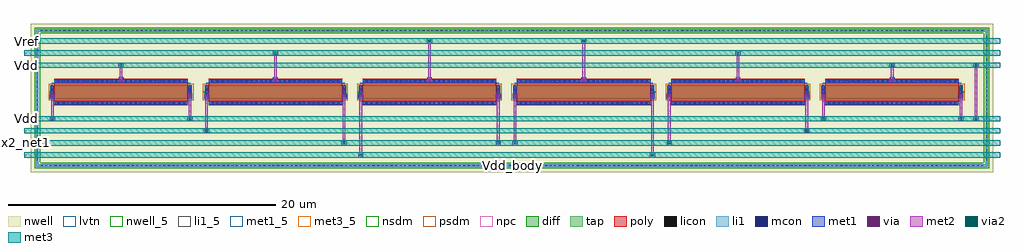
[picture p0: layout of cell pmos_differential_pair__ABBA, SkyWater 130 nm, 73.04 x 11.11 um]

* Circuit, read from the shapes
.subckt pmos_differential_pair__ABBA Vdd Vdd_body Vref x2_Vcm x2_Vout x2_Vtest x2_net1
XM1 Vdd Vdd Vdd Vdd_body sky130_fd_pr__pfet_01v8_lvt w=1 l=10 m=2
XM2 x2_net1 x2_Vcm x2_Vtest Vdd_body sky130_fd_pr__pfet_01v8_lvt w=1 l=10 m=2
XM3 x2_net1 Vref x2_Vout Vdd_body sky130_fd_pr__pfet_01v8_lvt w=1 l=10 m=2
.ends

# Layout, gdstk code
from math import pi, radians
import gdstk
lib = gdstk.Library(unit=1e-6, precision=1e-09)
def R(c, l, rs):  # rectangles x0, y0, x1, y1
    for r in rs: c.add(gdstk.rectangle(r[:2], r[2:], *l))
def A(c, l, x, y, w, h, nx, ny, dx, dy):  # array of equal rectangles
    R(c, l, [(x+i*dx, y+j*dy, x+i*dx+w, y+j*dy+h) for i in range(nx) for j in range(ny)])
nwell_5 = (64, 5)
nwell = (64, 20)
diff = (65, 20)
tap = (65, 44)
poly = (66, 20)
licon = (66, 44)
li1_5 = (67, 5)
li1 = (67, 20)
mcon = (67, 44)
met1_5 = (68, 5)
met1 = (68, 20)
via = (68, 44)
met2 = (69, 20)
via2 = (69, 44)
met3_5 = (70, 5)
met3 = (70, 20)
nsdm = (93, 44)
psdm = (94, 20)
npc = (95, 20)
lvtn = (125, 44)

sky130_fd_pr__pfet_01v8_ = lib.new_cell('sky130_fd_pr__pfet_01v8_lvt_5FXXCR')
R(sky130_fd_pr__pfet_01v8_, nwell, [(-5.47,-1,5.47,1)])
R(sky130_fd_pr__pfet_01v8_, diff, [(-5.29,-0.5,5.29,0.5)])
R(sky130_fd_pr__pfet_01v8_, poly, [(-5,-0.985,5,0.985)])
A(sky130_fd_pr__pfet_01v8_, licon, -4.845, -0.905, 0.17, 0.17, 29, 2, 0.34, 1.64)
A(sky130_fd_pr__pfet_01v8_, licon, -5.23, -0.425, 0.17, 0.17, 1, 3, 0, 0.34)
A(sky130_fd_pr__pfet_01v8_, licon, 5.06, -0.425, 0.17, 0.17, 1, 3, 0, 0.34)
R(sky130_fd_pr__pfet_01v8_, li1, [(-5,-0.905,5,-0.735), (-5.23,-0.52,-5.06,0.52), (5.06,-0.52,5.23,0.52), (-5,0.735,5,0.905)])
A(sky130_fd_pr__pfet_01v8_, mcon, -4.765, -0.905, 0.17, 0.17, 27, 2, 0.36, 1.64)
R(sky130_fd_pr__pfet_01v8_, mcon, [(-5.23,-0.265,-5.06,-0.095), (5.06,-0.265,5.23,-0.095), (-5.23,0.095,-5.06,0.265), (5.06,0.095,5.23,0.265)])
R(sky130_fd_pr__pfet_01v8_, met1, [(-4.98,-0.935,4.98,-0.705), (-5.26,-0.5,-5.03,0.5), (5.03,-0.5,5.26,0.5), (-4.98,0.705,4.98,0.935)])
R(sky130_fd_pr__pfet_01v8_, psdm, [(-5.415,-0.625,5.415,0.625)])
R(sky130_fd_pr__pfet_01v8_, npc, [(-4.945,-1.005,4.945,-0.635), (-4.945,0.635,4.945,1.005)])
R(sky130_fd_pr__pfet_01v8_, lvtn, [(-5.18,-0.68,5.18,0.68)])
sky130_fd_pr__pfet_01v8_.add(gdstk.Label('D', (-5.145,0), layer=67, texttype=5))
sky130_fd_pr__pfet_01v8_.add(gdstk.Label('S', (5.145,0), layer=67, texttype=5))
sky130_fd_pr__pfet_01v8_.add(gdstk.Label('G', (0,0.82), layer=67, texttype=5))

pfet_01v8_lvt_w1_l10_m2_ = lib.new_cell('pfet_01v8_lvt_W1_L10_m2__nf1_gboth_sdfull_ng')
R(pfet_01v8_lvt_w1_l10_m2_, nwell_5, [(0.05,0.95,0.15,1.05)])
R(pfet_01v8_lvt_w1_l10_m2_, nwell, [(0.05,0.95,0.15,1.05)])
R(pfet_01v8_lvt_w1_l10_m2_, met1_5, [(0.21,1,0.44,1.2), (10.5,1,10.73,1.2), (0.49,1.705,10.45,1.935)])
R(pfet_01v8_lvt_w1_l10_m2_, met1, [(0.21,1,0.44,1.2), (10.5,1,10.73,1.2), (0.49,1.705,10.45,1.935)])
pfet_01v8_lvt_w1_l10_m2_.add(gdstk.Reference(sky130_fd_pr__pfet_01v8_, (5.47,1)))
pfet_01v8_lvt_w1_l10_m2_.add(gdstk.Label('D', (0.325,1.1), layer=68, texttype=5))
pfet_01v8_lvt_w1_l10_m2_.add(gdstk.Label('S', (10.615,1.1), layer=68, texttype=5))
pfet_01v8_lvt_w1_l10_m2_.add(gdstk.Label('G', (5.47,1.82), layer=68, texttype=5))
pfet_01v8_lvt_w1_l10_m2_.add(gdstk.Label('B', (0.1,1), layer=64, texttype=5))

pmos_differential_pair__ = lib.new_cell('pmos_differential_pair__ABBA')
R(pmos_differential_pair__, nwell, [(-1.3,-5,70.74,6.11)])
R(pmos_differential_pair__, tap, [(-0.885,-4.585,70.325,-4.415), (-0.885,-4.415,-0.715,5.525), (70.155,-4.415,70.325,5.525), (-0.885,5.525,70.325,5.695)])
A(pmos_differential_pair__, licon, -0.555, -4.585, 0.17, 0.17, 208, 2, 0.34, 10.11)
A(pmos_differential_pair__, licon, -0.885, -4.12, 0.17, 0.17, 1, 28, 0, 0.34)
A(pmos_differential_pair__, licon, 70.155, -4.12, 0.17, 0.17, 1, 28, 0, 0.34)
R(pmos_differential_pair__, li1_5, [(34.67,-4.55,34.77,-4.45)])
R(pmos_differential_pair__, li1, [(-0.885,-4.585,70.325,-4.415), (-0.885,-4.415,-0.715,5.525), (70.155,-4.415,70.325,5.525), (-0.885,5.525,70.325,5.695)])
A(pmos_differential_pair__, met1, 5.29, 1.735, 0.36, 0.36, 6, 1, 11.54, 0)
R(pmos_differential_pair__, met1, [(0.145,0.5,0.505,0.86), (10.435,0.5,10.795,0.86), (11.685,0.5,12.045,0.86), (21.975,0.5,22.335,0.86), (23.225,0.5,23.585,0.86), (33.515,0.5,33.875,0.86), (34.765,0.5,35.125,0.86), (45.055,0.5,45.415,0.86), (46.305,0.5,46.665,0.86), (56.595,0.5,56.955,0.86), (57.845,0.5,58.205,0.86), (68.135,0.5,68.495,0.86)])
A(pmos_differential_pair__, via, 5.395, 1.84, 0.15, 0.15, 6, 1, 11.54, 0)
R(pmos_differential_pair__, via, [(0.25,0.605,0.4,0.755), (10.54,0.605,10.69,0.755), (11.79,0.605,11.94,0.755), (22.08,0.605,22.23,0.755), (23.33,0.605,23.48,0.755), (33.62,0.605,33.77,0.755), (34.87,0.605,35.02,0.755), (45.16,0.605,45.31,0.755), (46.41,0.605,46.56,0.755), (56.7,0.605,56.85,0.755), (57.95,0.605,58.1,0.755), (68.24,0.605,68.39,0.755)])
A(pmos_differential_pair__, met2, 5.34, 1.755, 0.26, 0.32, 6, 1, 11.54, 0)
R(pmos_differential_pair__, met2, [(23.205,-3.9,23.605,-3.5), (45.035,-3.9,45.435,-3.5), (23.305,-3.5,23.505,0.52), (45.135,-3.5,45.335,0.52), (21.955,-3,22.355,-2.6), (33.495,-3,33.895,-2.6), (34.745,-3,35.145,-2.6), (46.285,-3,46.685,-2.6), (22.055,-2.6,22.255,0.52), (33.595,-2.6,33.795,0.52), (34.845,-2.6,35.045,0.52), (46.385,-2.6,46.585,0.52), (11.665,-2.1,12.065,-1.7), (56.575,-2.1,56.975,-1.7), (11.765,-1.7,11.965,0.52), (56.675,-1.7,56.875,0.52), (0.125,-1.2,0.525,-0.8), (10.415,-1.2,10.815,-0.8), (57.825,-1.2,58.225,-0.8), (68.115,-1.2,68.515,-0.8), (69.24,-1.2,69.64,-0.8), (0.225,-0.8,0.425,0.52), (10.515,-0.8,10.715,0.52), (57.925,-0.8,58.125,0.52), (68.215,-0.8,68.415,0.52), (69.34,-0.8,69.54,2.81), (0.195,0.52,0.455,0.84), (10.485,0.52,10.745,0.84), (11.735,0.52,11.995,0.84), (22.025,0.52,22.285,0.84), (23.275,0.52,23.535,0.84), (33.565,0.52,33.825,0.84), (34.815,0.52,35.075,0.84), (45.105,0.52,45.365,0.84), (46.355,0.52,46.615,0.84), (56.645,0.52,56.905,0.84), (57.895,0.52,58.155,0.84), (68.185,0.52,68.445,0.84), (5.37,2.075,5.57,2.81), (16.91,2.075,17.11,3.71), (28.45,2.075,28.65,4.61), (39.99,2.075,40.19,4.61), (51.53,2.075,51.73,3.71), (63.07,2.075,63.27,2.81), (5.27,2.81,5.67,3.21), (62.97,2.81,63.37,3.21), (69.24,2.81,69.64,3.21), (16.81,3.71,17.21,4.11), (51.43,3.71,51.83,4.11), (28.35,4.61,28.75,5.01), (39.89,4.61,40.29,5.01)])
R(pmos_differential_pair__, via2, [(23.305,-3.8,23.505,-3.6), (45.135,-3.8,45.335,-3.6), (22.055,-2.9,22.255,-2.7), (33.595,-2.9,33.795,-2.7), (34.845,-2.9,35.045,-2.7), (46.385,-2.9,46.585,-2.7), (11.765,-2,11.965,-1.8), (56.675,-2,56.875,-1.8), (0.225,-1.1,0.425,-0.9), (10.515,-1.1,10.715,-0.9), (57.925,-1.1,58.125,-0.9), (68.215,-1.1,68.415,-0.9), (69.34,-1.1,69.54,-0.9), (5.37,2.91,5.57,3.11), (63.07,2.91,63.27,3.11), (69.34,2.91,69.54,3.11), (16.91,3.81,17.11,4.01), (51.53,3.81,51.73,4.01), (28.45,4.71,28.65,4.91), (39.99,4.71,40.19,4.91)])
A(pmos_differential_pair__, met3_5, -1.7, -3.75, 0.1, 0.1, 1, 4, 0, 0.9)
A(pmos_differential_pair__, met3_5, -1.7, 2.96, 0.1, 0.1, 1, 3, 0, 0.9)
A(pmos_differential_pair__, met3, -1.8, -3.9, 73.04, 0.4, 1, 4, 0, 0.9)
A(pmos_differential_pair__, met3, -1.8, 2.81, 73.04, 0.4, 1, 3, 0, 0.9)
R(pmos_differential_pair__, nsdm, [(-1.01,-4.71,70.45,-4.29), (-1.01,-4.29,-0.59,5.4), (70.03,-4.29,70.45,5.4), (-1.01,5.4,70.45,5.82)])
pmos_differential_pair__.add(gdstk.Reference(pfet_01v8_lvt_w1_l10_m2_, (0,0)))
pmos_differential_pair__.add(gdstk.Reference(pfet_01v8_lvt_w1_l10_m2_, (11.54,0)))
pmos_differential_pair__.add(gdstk.Reference(pfet_01v8_lvt_w1_l10_m2_, (23.08,0)))
pmos_differential_pair__.add(gdstk.Reference(pfet_01v8_lvt_w1_l10_m2_, (45.56,0), rotation=pi, x_reflection=True))
pmos_differential_pair__.add(gdstk.Reference(pfet_01v8_lvt_w1_l10_m2_, (57.1,0), rotation=pi, x_reflection=True))
pmos_differential_pair__.add(gdstk.Reference(pfet_01v8_lvt_w1_l10_m2_, (68.64,0), rotation=pi, x_reflection=True))
pmos_differential_pair__.add(gdstk.Label('Vdd', (-1.65,3.01), layer=70, texttype=5))
pmos_differential_pair__.add(gdstk.Label('x2_Vcm', (-1.65,3.91), layer=70, texttype=5))
pmos_differential_pair__.add(gdstk.Label('Vref', (-1.65,4.81), layer=70, texttype=5))
pmos_differential_pair__.add(gdstk.Label('Vdd', (-1.65,-1), layer=70, texttype=5))
pmos_differential_pair__.add(gdstk.Label('x2_Vtest', (-1.65,-1.9), layer=70, texttype=5))
pmos_differential_pair__.add(gdstk.Label('x2_net1', (-1.65,-2.8), layer=70, texttype=5))
pmos_differential_pair__.add(gdstk.Label('x2_Vout', (-1.65,-3.7), layer=70, texttype=5))
pmos_differential_pair__.add(gdstk.Label('Vdd_body', (34.72,-4.5), layer=67, texttype=5))

lib.write_gds('pmos_differential_pair__ABBA.gds')
